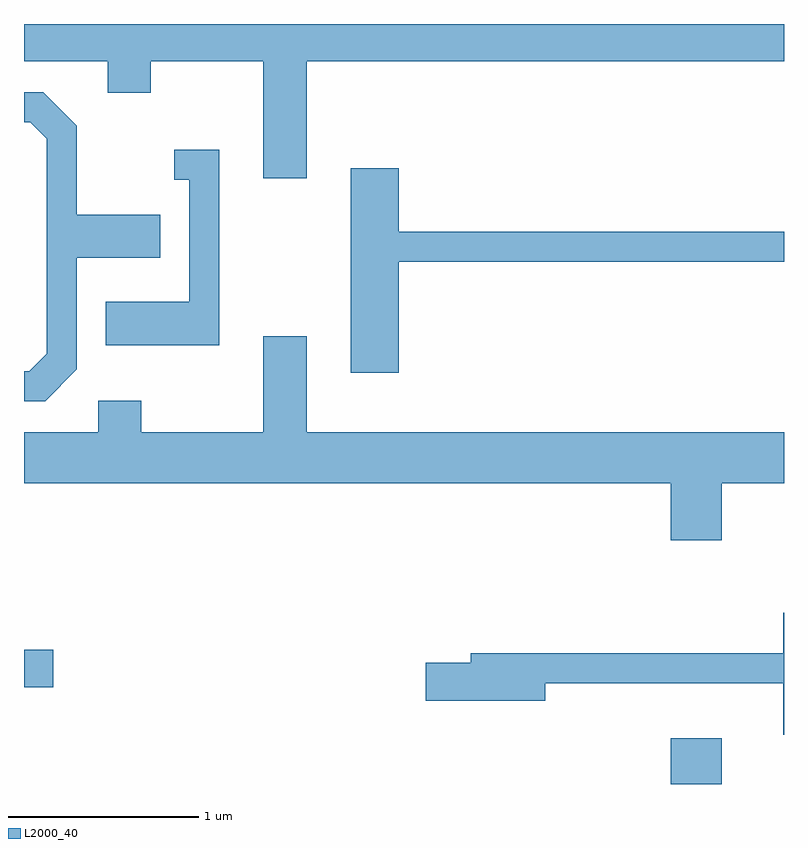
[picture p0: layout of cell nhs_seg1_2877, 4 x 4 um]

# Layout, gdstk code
import gdstk
lib = gdstk.Library(unit=1e-6, precision=1e-09)
def R(c, l, rs):  # rectangles x0, y0, x1, y1
    for r in rs: c.add(gdstk.rectangle(r[:2], r[2:], *l))
def P(c, l, *ps):  # polygons
    for p in ps: c.add(gdstk.Polygon(p, *l))
L2000_40 = (2000, 40)

nhs_seg1_2877 = lib.new_cell('nhs_seg1_2877')
R(nhs_seg1_2877, L2000_40, [(275.016,955.712,275.284,955.954), (271.611,956.221,271.764,956.419)])
P(nhs_seg1_2877, L2000_40, [(273.099,959.516),(275.611,959.516),(275.611,959.712),(271.611,959.712),(271.611,959.516),(272.051,959.516),(272.051,959.351),(272.279,959.351),(272.279,959.516),(272.871,959.516),(272.871,958.901),(273.099,958.901)],
  [(271.889,957.894),(271.889,958.481),(272.329,958.481),(272.329,958.709),(271.889,958.709),(271.889,959.177),(271.712,959.354),(271.611,959.354),(271.611,959.196),(271.644,959.196),(271.731,959.109),(271.731,957.977),(271.639,957.884),(271.611,957.884),(271.611,957.726),(271.722,957.726)],
  [(272.639,959.049),(272.403,959.049),(272.403,958.891),(272.481,958.891),(272.481,958.249),(272.041,958.249),(272.041,958.021),(272.639,958.021)],
  [(273.584,958.461),(275.611,958.461),(275.611,958.619),(273.584,958.619),(273.584,958.954),(273.331,958.954),(273.331,957.876),(273.584,957.876)],
  [(275.284,957.296),(275.611,957.296),(275.611,957.564),(273.099,957.564),(273.099,958.069),(272.871,958.069),(272.871,957.564),(272.229,957.564),(272.229,957.729),(272.001,957.729),(272.001,957.564),(271.611,957.564),(271.611,957.296),(275.016,957.296),(275.016,956.996),(275.284,956.996)],
  [(275.611,956.614),(275.606,956.614),(275.606,956.399),(273.961,956.399),(273.961,956.349),(273.726,956.349),(273.726,956.151),(274.354,956.151),(274.354,956.241),(275.606,956.241),(275.606,955.971),(275.611,955.971)])

lib.write_gds('nhs_seg1_2877.gds')
